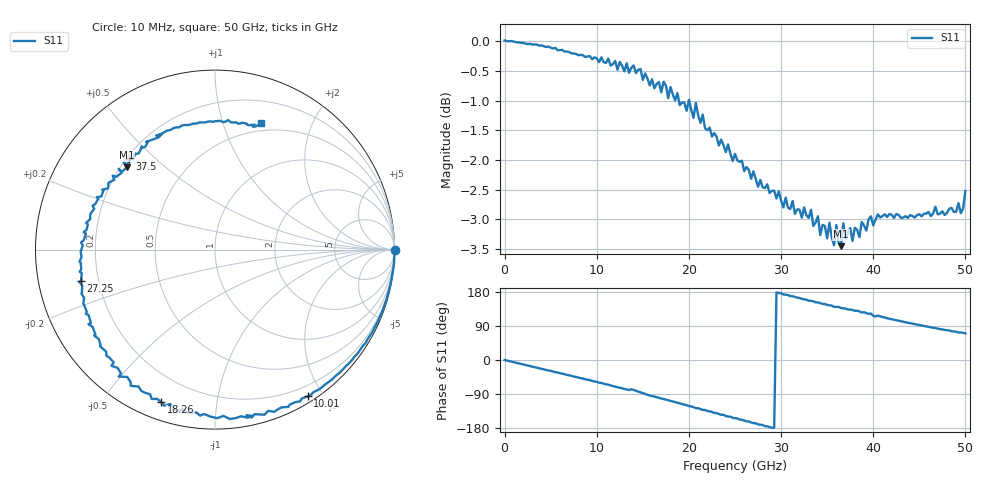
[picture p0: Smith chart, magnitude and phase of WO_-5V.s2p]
!Agilent Technologies,N5227A,US51270434,A.10.00.00
!Agilent N5227A: A.10.00.00
!Date: Friday, February 13, 2026 14:16:12
!Correction: S11(Full 1 Port(1))
!S21(Off)
!S12(Off)
!S22(Off)
!S2P File: Measurements: S11, S21, S12, S22:
# Hz S  dB  R 50
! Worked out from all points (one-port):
!   201 points, 10 MHz to 50 GHz, reference 50 ohm
!   lowest |S11| = -3.5 dB at 36.5 GHz (marker M1), VSWR 5.10, Z = 11.3 + j18.8 ohm
!   |S11| at or under -10 dB: nowhere
!   S11 on the Smith chart (normalised r, x): 10 MHz: open; 10.01 GHz: 0.07, -1.81; 18.26 GHz: 0.08, -0.71; 27.25 GHz: 0.13, -0.11; 37.5 GHz: 0.21, +0.42; 50 GHz: 0.42, +1.34
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1e7  0.01 -0.1  -200.00 45.0  -200.00 45.0  -200.00 45.0
4.0092e9  -0.07 -23.2  -200.00 45.0  -200.00 45.0  -200.00 45.0
8.5083e9  -0.24 -48.8  -200.00 45.0  -200.00 45.0  -200.00 45.0
1.0008e10  -0.29 -57.7  -200.00 45.0  -200.00 45.0  -200.00 45.0
1.325735e10  -0.37 -77.7  -200.00 45.0  -200.00 45.0  -200.00 45.0
1.35073e10  -0.53 -79.3  -200.00 45.0  -200.00 45.0  -200.00 45.0
1.375725e10  -0.45 -77.3  -200.00 45.0  -200.00 45.0  -200.00 45.0
1.675665e10  -0.69 -99.6  -200.00 45.0  -200.00 45.0  -200.00 45.0
1.825635e10  -0.90 -109.3  -200.00 45.0  -200.00 45.0  -200.00 45.0
2.075585e10  -1.04 -127.2  -200.00 45.0  -200.00 45.0  -200.00 45.0
2.5005e10  -1.90 -153.5  -200.00 45.0  -200.00 45.0  -200.00 45.0
2.725455e10  -2.32 -167.0  -200.00 45.0  -200.00 45.0  -200.00 45.0
2.975405e10  -2.53 176.9  -200.00 45.0  -200.00 45.0  -200.00 45.0
3.35033e10  -3.11 154.9  -200.00 45.0  -200.00 45.0  -200.00 45.0
3.65027e10  -3.45 137.0  -200.00 45.0  -200.00 45.0  -200.00 45.0
3.75025e10  -3.15 133.2  -200.00 45.0  -200.00 45.0  -200.00 45.0
3.975205e10  -2.95 122.7  -200.00 45.0  -200.00 45.0  -200.00 45.0
4.0002e10  -3.10 116.7  -200.00 45.0  -200.00 45.0  -200.00 45.0
4.05019e10  -2.92 117.3  -200.00 45.0  -200.00 45.0  -200.00 45.0
4.175165e10  -2.91 108.9  -200.00 45.0  -200.00 45.0  -200.00 45.0
4.675065e10  -2.79 84.3  -200.00 45.0  -200.00 45.0  -200.00 45.0
5e10  -2.52 70.0  -200.00 45.0  -200.00 45.0  -200.00 45.0
